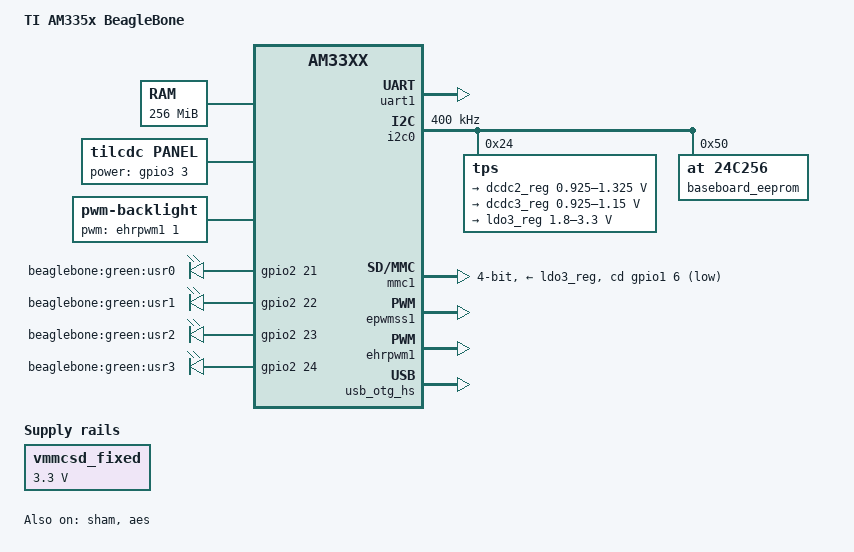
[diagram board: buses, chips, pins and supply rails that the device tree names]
/*
 * Copyright (C) 2012 Texas Instruments Incorporated - http://www.ti.com/
 *
 * This program is free software; you can redistribute it and/or modify
 * it under the terms of the GNU General Public License version 2 as
 * published by the Free Software Foundation.
 */

/include/ "am33xx.dtsi"

/ {
	model = "TI AM335x BeagleBone";
	compatible = "ti,am335x-bone", "ti,am33xx";

	cpus {
		cpu@0 {
			cpu0-supply = <&dcdc2_reg>;
		};
	};

	memory {
		device_type = "memory";
		reg = <0x80000000 0x10000000>; /* 256 MB */
	};

	am33xx_pinmux: pinmux@44e10800 {
		pinctrl-names = "default";
		pinctrl-0 = <&userled_pins>;

		lcd_pins: pinmux_lcd_pins {
			pinctrl-single,pins = <
				0x90 0x17	/* gpmc_advn_ale.gpio2_2, OUTPUT | PULLUP | MODE7 - PDWN */
				0x94 0x17	/* gpmc_oen_ren.gpio2_3, OUTPUT | PULLUP | MODE7 - AVDD_EN */

				0x20 0x01	/* gpmc_ad8.lcd_data16, OUTPUT | MODE1 */
				0x24 0x01	/* gpmc_ad9.lcd_data17, OUTPUT | MODE1 */
				0x28 0x01	/* gpmc_ad10.lcd_data18, OUTPUT | MODE1 */
				0x2c 0x01	/* gpmc_ad11.lcd_data19, OUTPUT | MODE1 */
				0x30 0x01	/* gpmc_ad12.lcd_data20, OUTPUT | MODE1 */
				0x34 0x01	/* gpmc_ad13.lcd_data21, OUTPUT | MODE1 */
				0x38 0x01	/* gpmc_ad14.lcd_data22, OUTPUT | MODE1 */
				0x3c 0x01	/* gpmc_ad15.lcd_data23, OUTPUT | MODE1 */

				0xa0 0x08	/* lcd_data0.lcd_data0, OMAP_MUX_MODE0 | AM33XX_PIN_OUTPUT | AM33XX_PULL_DISA */
				0xa3 0x08	/* lcd_data1.lcd_data1, OMAP_MUX_MODE0 | AM33XX_PIN_OUTPUT | AM33XX_PULL_DISA */
				0xa8 0x08	/* lcd_data2.lcd_data2, OMAP_MUX_MODE0 | AM33XX_PIN_OUTPUT | AM33XX_PULL_DISA */
				0xac 0x08	/* lcd_data3.lcd_data3, OMAP_MUX_MODE0 | AM33XX_PIN_OUTPUT | AM33XX_PULL_DISA */
				0xb0 0x08	/* lcd_data3.lcd_data3, OMAP_MUX_MODE0 | AM33XX_PIN_OUTPUT | AM33XX_PULL_DISA */
				0xb4 0x08	/* lcd_data5.lcd_data5, OMAP_MUX_MODE0 | AM33XX_PIN_OUTPUT | AM33XX_PULL_DISA */
				0xb8 0x08	/* lcd_data6.lcd_data6, OMAP_MUX_MODE0 | AM33XX_PIN_OUTPUT | AM33XX_PULL_DISA */
				0xbc 0x08	/* lcd_data7.lcd_data7, OMAP_MUX_MODE0 | AM33XX_PIN_OUTPUT | AM33XX_PULL_DISA */
				0xc0 0x08	/* lcd_data8.lcd_data8, OMAP_MUX_MODE0 | AM33XX_PIN_OUTPUT | AM33XX_PULL_DISA */
				0xc4 0x08	/* lcd_data9.lcd_data9, OMAP_MUX_MODE0 | AM33XX_PIN_OUTPUT | AM33XX_PULL_DISA */
				0xc8 0x08	/* lcd_data10.lcd_data10, OMAP_MUX_MODE0 | AM33XX_PIN_OUTPUT | AM33XX_PULL_DISA */
				0xcc 0x08	/* lcd_data11.lcd_data11, OMAP_MUX_MODE0 | AM33XX_PIN_OUTPUT | AM33XX_PULL_DISA */
				0xd0 0x08	/* lcd_data12.lcd_data12, OMAP_MUX_MODE0 | AM33XX_PIN_OUTPUT | AM33XX_PULL_DISA */
				0xd4 0x08	/* lcd_data13.lcd_data13, OMAP_MUX_MODE0 | AM33XX_PIN_OUTPUT | AM33XX_PULL_DISA */
				0xd8 0x08	/* lcd_data14.lcd_data14, OMAP_MUX_MODE0 | AM33XX_PIN_OUTPUT | AM33XX_PULL_DISA */
				0xdc 0x08	/* lcd_data15.lcd_data15, OMAP_MUX_MODE0 | AM33XX_PIN_OUTPUT | AM33XX_PULL_DISA */

				0xe0 0x00	/* lcd_vsync.lcd_vsync, OMAP_MUX_MODE0 | AM33XX_PIN_OUTPUT */
				0xe4 0x00	/* lcd_hsync.lcd_hsync, OMAP_MUX_MODE0 | AM33XX_PIN_OUTPUT */
				0xe8 0x00	/* lcd_pclk.lcd_pclk, OMAP_MUX_MODE0 | AM33XX_PIN_OUTPUT */
				0xec 0x00	/* lcd_ac_bias_en.lcd_ac_bias_en, OMAP_MUX_MODE0 | AM33XX_PIN_OUTPUT */
			>;
		};

		pwm_bl_pins: pinmux_pwm_bl_pins {
			pinctrl-single,pins = <
				0x4c 0x06       /* gpmc_a3.ehrpwm1b, OMAP_MUX_MODE6 | AM33XX_PIN_OUTPUT */
			>;
		};

		userled_pins: pinmux_userled_pins {
			pinctrl-single,pins = <
				0x54 0x7	/* gpmc_a5.gpio1_21, OUTPUT | MODE7 */
				0x58 0x17	/* gpmc_a6.gpio1_22, OUTPUT_PULLUP | MODE7 */
				0x5c 0x7	/* gpmc_a7.gpio1_23, OUTPUT | MODE7 */
				0x60 0x17	/* gpmc_a8.gpio1_24, OUTPUT_PULLUP | MODE7 */
			>;
		};
		i2c0_pins: pinmux_i2c0_pins {
			pinctrl-single,pins = <
				0x188 0x70 	/* i2c0_sda, SLEWCTRL_SLOW | INPUT_PULLUP | MODE0 */
				0x18c 0x70	/* i2c0_scl, SLEWCTRL_SLOW | INPUT_PULLUP | MODE0 */
			>;
		};
		i2c2_pins: pinmux_i2c2_pins {
			pinctrl-single,pins = <
				0x178 0x73 	/* uart1_ctsn.i2c2_sda, SLEWCTRL_SLOW | INPUT_PULLUP | MODE3 */
				0x17c 0x73	/* uart1_rtsn.i2c2_scl, SLEWCTRL_SLOW | INPUT_PULLUP | MODE3 */
			>;
		};
		mmc1_pins: pinmux_mmc1_pins {
			pinctrl-single,pins = <
				0x160 0x2f /* GPIO0_6 (PIN_INPUT | MUX_MODE7) */
			>;
		};
	};

	ocp: ocp {

		/* Settings for CHIMEI InnoLux HJ080IA-01E: */
		panel {
			compatible = "tilcdc,panel";
			pinctrl-names = "default";
			pinctrl-0 = <&lcd_pins>;

			ti,power-gpio = <&gpio3 3 0x0>;

			panel-info {
				ac-bias           = <255>;
				ac-bias-intrpt    = <0>;
				dma-burst-sz      = <16>;
				bpp               = <32>;   /* 16,24,32 */
				fdd               = <0x80>;
				tft-alt-mode      = <0>;
				stn-565-mode      = <0>;
				mono-8bit-mode    = <0>;
				sync-edge         = <0>;
				sync-ctrl         = <1>;
				raster-order      = <0>;
				fifo-th           = <0>;
			};

			display-timings {
				native-mode = <&timing0>;
				timing0: 1024x768 {
					hactive         = <1024>;
					vactive         = <768>;
					hback-porch     = <300>;
					hfront-porch    = <18>;
					hsync-len       = <2>;
					vback-porch     = <30>;
					vfront-porch    = <6>;
					vsync-len       = <2>;
					clock-frequency = <65000000>;
					hsync-active    = <0>;
					vsync-active    = <0>;
					/* XXX: 162x122 mm */
				};
			};
		};

		backlight {
			compatible      = "pwm-backlight";
			pinctrl-names   = "default";
			pinctrl-0       = <&pwm_bl_pins>;
			status = "okay";

			pwms = <&ehrpwm1 1 500000 0>;
			pwm-names = "LCD-BL";
			brightness-levels = <0 1 4 9 16 25 36 49 64 81 100>;
			default-brightness-level = <10>; /* index to the array above */
		};

		fb {
			compatible = "ti,am33xx-tilcdc";
			reg = <0x4830e000 0x1000>;
			interrupt-parent = <&intc>;
			interrupts = <36>;
			ti,hwmods = "lcdc";
			ti,power-gpio = <&gpio3 2 0x0>;
			ti,allow-non-reduced-blanking-modes;
		};

		uart1: serial@44e09000 {
			status = "okay";
		};

		gpio-leds {
			compatible = "gpio-leds";
			pinctrl-names = "default";
			pinctrl-0 = <&userled_pins>;

			led0 {
				label = "beaglebone:green:usr0";
				gpios = <&gpio2 21 0>;
				linux,default-trigger = "heartbeat";
				default-state = "off";
			};

			led1 {
				label = "beaglebone:green:usr1";
				gpios = <&gpio2 22 0>;
				linux,default-trigger = "mmc0";
				default-state = "off";
			};

			led2 {
				label = "beaglebone:green:usr2";
				gpios = <&gpio2 23 0>;
				linux,default-trigger = "cpu0";
				default-state = "off";
			};

			led3 {
				label = "beaglebone:green:usr3";
				gpios = <&gpio2 24 0>;
				default-state = "off";
				linux,default-trigger = "mmc1";
			};
		};

		rtc@44e3e000 {
			ti,system-power-controller;
		};
	};

	bone_capemgr {
		compatible = "ti,bone-capemgr";
		status = "okay";

		eeprom = <&baseboard_eeprom>;

		baseboardmaps {
			baseboard_beaglebone: board@0 {
				board-name = "A335BONE";
				compatible-name = "ti,beaglebone";
			};

			baseboard_beaglebone_black: board@1 {
				board-name = "A335BNLT";
				compatible-name = "ti,beaglebone-black";
			};
		};

		slots {
/*  XXX:
			slot@0 {
				eeprom = <&cape_eeprom0>;
			};

			slot@1 {
				eeprom = <&cape_eeprom1>;
			};

			slot@2 {
				eeprom = <&cape_eeprom2>;
			};

			slot@3 {
				eeprom = <&cape_eeprom3>;
			};
 */

			/* geiger cape version A0 without an EEPROM */
			slot@5 {
				ti,cape-override;
				compatible = "kernel-command-line", "runtime";
				board-name = "Bone-Geiger";
				version = "00A0";
				manufacturer = "Geiger Inc.";
				part-number = "BB-BONE-GEIGER";
			};

			/* Nixie cape version A0 without an EEPROM */
			slot@7 {
				ti,cape-override;
				compatible = "kernel-command-line", "runtime";
				board-name = "Bone-Nixie";
				version = "00A0";
				manufacturer = "Ranostay Industries";
				part-number = "BB-BONE-NIXIE";
			};

			/* adafruit 1.8" TFT prototype cape */
			slot@8 {
				ti,cape-override;
				compatible = "kernel-command-line", "runtime";
				board-name = "Bone-TFT";
				version = "00A0";
				manufacturer = "Adafruit";
				part-number = "BB-BONE-TFT-01";
			};

			/* adafruit RTC DS1307 prototype cape */
			slot@9 {
				ti,cape-override;
				compatible = "kernel-command-line", "runtime";
				board-name = "Bone-RTC";
				version = "00A0";
				manufacturer = "Adafruit";
				part-number = "BB-BONE-RTC-01";
			};

			slot@10 {
				ti,cape-override;
				compatible = "kernel-command-line", "runtime";
				board-name = "Bone-Hexy";
				version = "00A0";
				manufacturer = "Koen Kooi";
				part-number = "BB-BONE-HEXY-01";
			};
			/* MRF24J40 Cape Override */
			slot@11 {
				ti,cape-override;
				compatible = "kernel-command-line", "runtime";
				board-name = "Bone-MRF24J40";
				version = "00A0";
				manufacturer = "Signal 11 Software";
				part-number = "BB-BONE-MRF24J40";
			};

			/* RS232 cape */
			slot@12 {
				ti,cape-override;
				compatible = "kernel-command-line", "runtime";
				board-name = "BB-BONE-RS232";
				version = "00A0";
				manufacturer = "Adafruit";
				part-number = "BB-BONE-RS232-01";
			};

			/* GPS cape */
			slot@13 {
				compatible = "kernel-command-line", "runtime";
				board-name = "BB-BONE-GPS";
				version = "00A0";
				manufacturer = "Adafruit";
				part-number = "BB-BONE-GPS-01";
			};

			/* Beaglebone black has it soldered on */
			 slot@100 {
			 	ti,cape-override;
				priority = <1>;
			 	compatible = "ti,beaglebone-black";
			 	board-name = "Bone-LT-eMMC-2G";
			 	version = "00A0";
			 	manufacturer = "Texas Instruments";
			 	part-number = "BB-BONE-EMMC-2G";
			 };

			/* Beaglebone black has it soldered on */
			slot@101 {
				ti,cape-override;
				priority = <1>;
				compatible = "ti,beaglebone-black";
				board-name = "Bone-Black-HDMI";
				version = "00A0";
				manufacturer = "Texas Instruments";
				part-number = "BB-BONELT-HDMI";
			};

			/* Beaglebone black has it soldered on (but no audio) */
			slot@102 {
				ti,cape-override;
				priority = <2>;
				compatible = "ti,beaglebone-black";
				board-name = "Bone-Black-HDMIN";
				version = "00A0";
				manufacturer = "Texas Instruments";
				part-number = "BB-BONELT-HDMIN";
			};

		};
									  
		/* mapping between board names and dtb objects */
		capemaps {
			/* DVI cape */
			cape@0 {
				/* board-name = "BeagleBone DVI-D CAPE"; */
				part-number = "BB-BONE-DVID-01";
				version@00A0 {
					version = "00A0";
					dtbo = "cape-bone-dvi-00A0.dtbo";
				};
				version@00A1 {
					version = "00A1", "01";
					dtbo = "cape-bone-dvi-00A1.dtbo";
				};
				version@00A2 {
					version = "00A2", "A2";
					dtbo = "cape-bone-dvi-00A2.dtbo";
				};
				version@00A3 {
					version = "00A3";
					dtbo = "cape-bone-dvi-00A2.dtbo";
				};
			};

			/* beaglebone black emmc on board */
			cape@1 {
				/* board-name = "BeagleBone 2G eMMC1 CAPE"; */
				part-number = "BB-BONE-EMMC-2G";
				version@00A0 {
					version = "00A0";
					dtbo = "cape-bone-2g-emmc1.dtbo";
				};
			};

			/* geiger cape */
			cape@2 {
				part-number = "BB-BONE-GEIGER";
				version@00A0 {
					version = "00A0";
					dtbo = "cape-bone-geiger-00A0.dtbo";
				};
			};

			/* LCD3 cape */
			cape@3 {
				part-number = "BB-BONE-LCD3-01";
				version@00A0 {
					version = "00A0";
					dtbo = "cape-bone-lcd3-00A0.dtbo";
				};
				version@00A2 {
					version = "00A2";
					dtbo = "cape-bone-lcd3-00A2.dtbo";
				};
			};

			/* Weather cape */
			cape@4 {
				part-number = "BB-BONE-WTHR-01";
				version@00A0 {
					version = "00A0";
					dtbo = "cape-bone-weather-00A0.dtbo";
				};
			};

			/* beaglebone black hdmi on board */
			cape@5 {
				part-number = "BB-BONELT-HDMI";
				version@00A0 {
					version = "00A0";
					dtbo = "cape-boneblack-hdmi-00A0.dtbo";
				};
			};

			/* nixie cape */
			cape@6 {
				part-number = "BB-BONE-NIXIE";
				version@00A0 {
					version = "00A0";
					dtbo = "cape-bone-nixie-00A0.dtbo";
				};
			};
			cape@7 {
				part-number = "BB-BONE-TFT-01";
				version@00A0 {
					version = "00A0";
					dtbo = "cape-bone-adafruit-lcd-00A0.dtbo";
				};
			};

			cape@8 {
				part-number = "BB-BONE-RTC-01";
				version@00A0 {
					version = "00A0";
					dtbo = "BB-BONE-RTC-00A0.dtbo";
				};
			};

			cape@9 {
				part-number = "BB-BONE-HEXY-01";
				version@00A0 {
					version = "00A0";
					dtbo = "cape-bone-hexy-00A0.dtbo";
				};
			};
			/* mrf24j40 cape */
			cape@10 {
				part-number = "BB-BONE-MRF24J40";
				version@00A0 {
					version = "00A0";
					dtbo = "cape-bone-mrf24j40-00A0.dtbo";
				};
			};
			/* expansion test */
			cape@11 {
				part-number = "BB-BONE-EXPTEST";
				version@00A0 {
					version = "00A0";
					dtbo = "cape-bone-exptest-00A0.dtbo";
				};
			};
 			cape@12 {
				part-number = "BB-BONE-RS232-01";
				version@00A0 {
					version = "00A0";
					dtbo = "BB-BONE-RS232-00A0.dtbo";
				};
			};

			cape@13 {
				part-number = "BB-BONE-GPS-01";
				version@00A0 {
					version = "00A0";
					dtbo = "BB-BONE-GPS-00A0.dtbo";
				};
			};


			/* beaglebone black hdmi on board (No audio) */
			cape@14 {
				part-number = "BB-BONELT-HDMIN";
				version@00A0 {
					version = "00A0";
					dtbo = "cape-boneblack-hdmin-00A0.dtbo";
				};
			};

			/* remain backwards compatible with old EEPROM */
			cape@15 {
				part-number = "2191";
				version@R2 {
					version = "R2";
					dtbo = "cape-bebopr-R2.dtbo";
				};
			};

		};
	};

	vmmcsd_fixed: fixedregulator@0 {
		compatible = "regulator-fixed";
		regulator-name = "vmmcsd_fixed";
		regulator-min-microvolt = <3300000>;
		regulator-max-microvolt = <3300000>;
	};

};

&i2c0 {
	status = "okay";
	clock-frequency = <400000>;
	pinctrl-names = "default";
	pinctrl-0 = <&i2c0_pins>;

	tps: tps@24 {
		reg = <0x24>;
	};

	baseboard_eeprom: baseboard_eeprom@50 {
		compatible = "at,24c256";
		reg = <0x50>;
	};
};

/*  XXX:
&i2c2 {
	status = "okay";
	pinctrl-names = "default";
	pinctrl-0 = <&i2c2_pins>;

	clock-frequency = <100000>;

	cape_eeprom0: cape_eeprom0@54 {
		compatible = "at,24c256";
		reg = <0x54>;
	};

	cape_eeprom1: cape_eeprom1@55 {
		compatible = "at,24c256";
		reg = <0x55>;
	};

	cape_eeprom2: cape_eeprom2@56 {
		compatible = "at,24c256";
		reg = <0x56>;
	};

	cape_eeprom3: cape_eeprom3@57 {
		compatible = "at,24c256";
		reg = <0x57>;
	};
};
 */

/include/ "tps65217.dtsi"

&tps {
	ti,pmic-shutdown-controller;

	interrupt-parent = <&intc>;
	interrupts = <7>;	/* NNMI */

	regulators {
		dcdc1_reg: regulator@0 {
			regulator-always-on;
		};

		dcdc2_reg: regulator@1 {
			/* VDD_MPU voltage limits 0.95V - 1.26V with +/-4% tolerance */
			regulator-name = "vdd_mpu";
			regulator-min-microvolt = <925000>;
			regulator-max-microvolt = <1325000>;
			regulator-boot-on;
			regulator-always-on;
		};

		dcdc3_reg: regulator@2 {
			/* VDD_CORE voltage limits 0.95V - 1.1V with +/-4% tolerance */
			regulator-name = "vdd_core";
			regulator-min-microvolt = <925000>;
			regulator-max-microvolt = <1150000>;
			regulator-boot-on;
			regulator-always-on;
		};

		ldo1_reg: regulator@3 {
			regulator-always-on;
		};

		ldo2_reg: regulator@4 {
			regulator-always-on;
		};

		ldo3_reg: regulator@5 {
			regulator-min-microvolt = <1800000>;
			regulator-max-microvolt = <3300000>;
			regulator-always-on;
		};

		ldo4_reg: regulator@6 {
			regulator-always-on;
		};
	};

};

&cpsw_emac0 {
	phy_id = <&davinci_mdio>, <0>;
};

&cpsw_emac1 {
	phy_id = <&davinci_mdio>, <1>;
};

&mmc1 {
	pinctrl-names = "default";
	pinctrl-0 = <&mmc1_pins>;
	bus-width = <0x4>;
	cd-gpios = <&gpio1 6 0>; /* gpio1 is misnamed, 0 == GPIO_ACTIVE_HIGH */
	cd-inverted;
	status = "okay";
	vmmc-supply = <&ldo3_reg>;
	ti,vcc-aux-disable-is-sleep;
};

&edma {
	ti,edma-xbar-event-map = <32 12>,	/* gpevt2 -> 12 */
				 <30 20>;	/* xdma_event_intr2 -> 20 */
};

&sham {
	status = "okay";
};

&aes {
	status = "okay";
};

&epwmss1 {
	status = "okay";
};

&ehrpwm1 {
	status = "okay";
};

&usb_otg_hs {
	interface_type = <1>;
	power = <250>;
	status = "okay";
};
